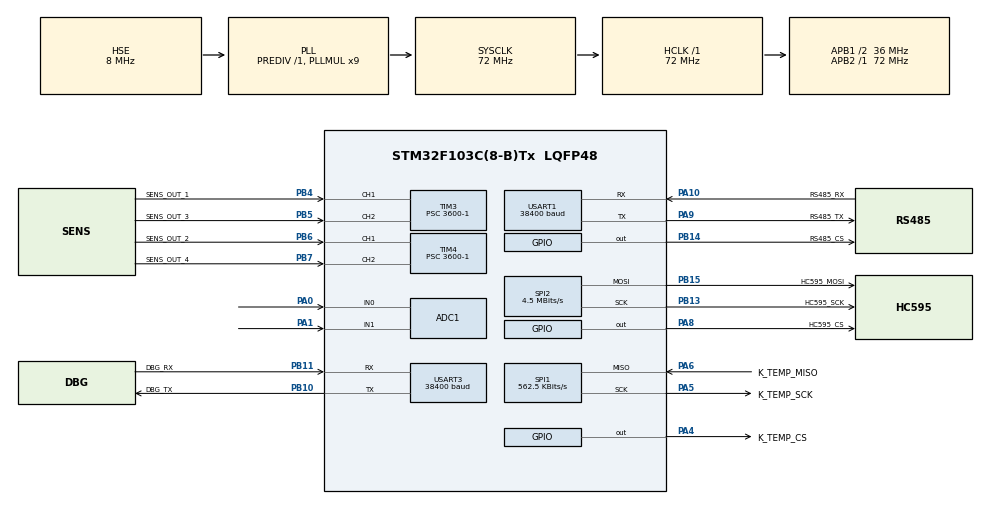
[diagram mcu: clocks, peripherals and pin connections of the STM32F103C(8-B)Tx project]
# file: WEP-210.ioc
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ADC1.Channel-0\#ChannelRegularConversion=ADC_CHANNEL_0
ADC1.Channel-1\#ChannelRegularConversion=ADC_CHANNEL_1
ADC1.ContinuousConvMode=DISABLE
ADC1.NbrOfConversion=2
ADC1.NbrOfConversionFlag=1
ADC1.Rank-0\#ChannelRegularConversion=1
ADC1.Rank-1\#ChannelRegularConversion=2
ADC1.SamplingTime-0\#ChannelRegularConversion=ADC_SAMPLETIME_1CYCLE_5
ADC1.SamplingTime-1\#ChannelRegularConversion=ADC_SAMPLETIME_1CYCLE_5
ADC1.master=1
Dma.ADC1.0.Direction=DMA_PERIPH_TO_MEMORY
Dma.ADC1.0.Instance=DMA1_Channel1
Dma.ADC1.0.MemDataAlignment=DMA_MDATAALIGN_WORD
Dma.ADC1.0.MemInc=DMA_MINC_ENABLE
Dma.ADC1.0.Mode=DMA_CIRCULAR
Dma.ADC1.0.PeriphDataAlignment=DMA_PDATAALIGN_WORD
Dma.ADC1.0.PeriphInc=DMA_PINC_DISABLE
Dma.ADC1.0.Priority=DMA_PRIORITY_LOW
Dma.Request0=ADC1
FREERTOS.Events01=systemInitEvent,Dynamic,NULL
FREERTOS.Queues01=ioInputStateQueue,10,uint32_t,0,Dynamic,NULL,NULL
FREERTOS.Tasks01=mainTask,24,128,startMainTask,Default,NULL,Dynamic,NULL,NULL;eMBTask,25,128,starteMBTask,Default,NULL,Dynamic,NULL,NULL;ioManagerTask,24,128,startIoManagerTask,Default,NULL,Dynamic,NULL,NULL;sensorTask,24,128,startSensorTask,Default,NULL,Dynamic,NULL,NULL;ioExtIrqCbkTask,31,128,startIoExtIrqCbkTask,Default,NULL,Dynamic,NULL,NULL;adcConvCbkTask,31,128,startAdcConvCbkTask,Default,NULL,Dynamic,NULL,NULL
FREERTOS.Timers01=mainFunctionTimer,mainFunctionTimerHandler,osTimerPeriodic,Default,NULL,Dynamic,NULL
FREERTOS.configTOTAL_HEAP_SIZE=8192
Mcu.Family=STM32F1
Mcu.Name=STM32F103C(8-B)Tx
Mcu.Package=LQFP48
NVIC.DMA1_Channel1_IRQn=true\:5\:0\:false\:false\:true\:true\:false\:true\:true
NVIC.PriorityGroup=NVIC_PRIORITYGROUP_4
NVIC.TIM1_UP_IRQn=true\:15\:0\:false\:false\:true\:false\:false\:true\:true
NVIC.TIM2_IRQn=true\:5\:0\:false\:false\:true\:true\:true\:true\:true
NVIC.TIM3_IRQn=true\:5\:0\:false\:false\:true\:true\:true\:true\:true
NVIC.TIM4_IRQn=true\:5\:0\:false\:false\:true\:true\:true\:true\:true
NVIC.TimeBase=TIM1_UP_IRQn
NVIC.TimeBaseIP=TIM1
NVIC.USART1_IRQn=true\:5\:0\:false\:false\:true\:true\:true\:true\:true
NVIC.USART3_IRQn=true\:5\:0\:false\:false\:true\:true\:true\:true\:true
PA0-WKUP.Signal=ADCx_IN0
PA1.Signal=ADCx_IN1
PA10.GPIO_Label=RS485_RX
PA10.Mode=Asynchronous
PA10.Signal=USART1_RX
PA13.Mode=Serial_Wire
PA13.Signal=SYS_JTMS-SWDIO
PA14.Mode=Serial_Wire
PA14.Signal=SYS_JTCK-SWCLK
PA4.GPIO_Label=K_TEMP_CS
PA4.GPIO_Speed=GPIO_SPEED_FREQ_HIGH
PA4.PinState=GPIO_PIN_SET
PA4.Signal=GPIO_Output
PA5.GPIO_Label=K_TEMP_SCK
PA5.Mode=RX_Only_Simplex_Unidirect_Master
PA5.Signal=SPI1_SCK
PA6.GPIO_Label=K_TEMP_MISO
PA6.Mode=RX_Only_Simplex_Unidirect_Master
PA6.Signal=SPI1_MISO
PA8.GPIO_Label=HC595_CS
PA8.GPIO_Speed=GPIO_SPEED_FREQ_HIGH
PA8.PinState=GPIO_PIN_SET
PA8.Signal=GPIO_Output
PA9.GPIO_Label=RS485_TX
PA9.Mode=Asynchronous
PA9.Signal=USART1_TX
PB10.GPIO_Label=DBG_TX
PB10.Mode=Asynchronous
PB10.Signal=USART3_TX
PB11.GPIO_Label=DBG_RX
PB11.Mode=Asynchronous
PB11.Signal=USART3_RX
PB13.GPIO_Label=HC595_SCK
PB13.Mode=TX_Only_Simplex_Unidirect_Master
PB13.Signal=SPI2_SCK
PB14.GPIO_Label=RS485_CS
PB14.GPIO_Speed=GPIO_SPEED_FREQ_HIGH
PB14.PinState=GPIO_PIN_RESET
PB14.Signal=GPIO_Output
PB15.GPIO_Label=HC595_MOSI
PB15.Mode=TX_Only_Simplex_Unidirect_Master
PB15.Signal=SPI2_MOSI
PB4.GPIO_Label=SENS_OUT_1
PB4.Signal=S_TIM3_CH1
PB5.GPIO_Label=SENS_OUT_3
PB5.Signal=S_TIM3_CH2
PB6.GPIO_Label=SENS_OUT_2
PB6.Signal=S_TIM4_CH1
PB7.GPIO_Label=SENS_OUT_4
PB7.Signal=S_TIM4_CH2
PD0-OSC_IN.Mode=HSE-External-Oscillator
PD0-OSC_IN.Signal=RCC_OSC_IN
PD1-OSC_OUT.Mode=HSE-External-Oscillator
PD1-OSC_OUT.Signal=RCC_OSC_OUT
ProjectManager.HeapSize=0x100
ProjectManager.StackSize=0x100
ProjectManager.TargetToolchain=MDK-ARM V5.32
RCC.ADCPresc=RCC_ADCPCLK2_DIV6
RCC.AHBFreq_Value=72000000
RCC.APB1CLKDivider=RCC_HCLK_DIV2
RCC.APB1Freq_Value=36000000
RCC.APB1TimFreq_Value=72000000
RCC.APB2Freq_Value=72000000
RCC.APB2TimFreq_Value=72000000
RCC.HCLKFreq_Value=72000000
RCC.PLLMUL=RCC_PLL_MUL9
RCC.PLLSourceVirtual=RCC_PLLSOURCE_HSE
RCC.SYSCLKFreq_VALUE=72000000
RCC.SYSCLKSource=RCC_SYSCLKSOURCE_PLLCLK
RCC.USBFreq_Value=72000000
SH.ADCx_IN0.0=ADC1_IN0,IN0
SH.ADCx_IN1.0=ADC1_IN1,IN1
SH.S_TIM3_CH1.0=TIM3_CH1,Input_Capture1_from_TI1
SH.S_TIM3_CH2.0=TIM3_CH2,Input_Capture2_from_TI2
SH.S_TIM4_CH1.0=TIM4_CH1,Input_Capture1_from_TI1
SH.S_TIM4_CH2.0=TIM4_CH2,Input_Capture2_from_TI2
SPI1.BaudRatePrescaler=SPI_BAUDRATEPRESCALER_128
SPI1.CalculateBaudRate=562.5 KBits/s
SPI1.Direction=SPI_DIRECTION_2LINES_RXONLY
SPI1.Mode=SPI_MODE_MASTER
SPI1.VirtualType=VM_MASTER
SPI2.BaudRatePrescaler=SPI_BAUDRATEPRESCALER_8
SPI2.CalculateBaudRate=4.5 MBits/s
SPI2.DataSize=SPI_DATASIZE_8BIT
SPI2.Direction=SPI_DIRECTION_2LINES
SPI2.Mode=SPI_MODE_MASTER
SPI2.VirtualType=VM_MASTER
TIM2.Period=10-1
TIM2.Prescaler=3600-1
TIM3.Channel-Input_Capture1_from_TI1=TIM_CHANNEL_1
TIM3.Channel-Input_Capture2_from_TI2=TIM_CHANNEL_2
TIM3.Channel-Output\ Compare3\ No\ Output=TIM_CHANNEL_3
TIM3.Channel-Output\ Compare4\ No\ Output=TIM_CHANNEL_4
TIM3.ICFilter_CH1=5
TIM3.ICFilter_CH2=5
TIM3.ICPolarity_CH1=TIM_INPUTCHANNELPOLARITY_FALLING
TIM3.ICPolarity_CH2=TIM_INPUTCHANNELPOLARITY_FALLING
TIM3.Period=10000-1
TIM3.Prescaler=3600-1
TIM4.Channel-Input_Capture1_from_TI1=TIM_CHANNEL_1
TIM4.Channel-Input_Capture2_from_TI2=TIM_CHANNEL_2
TIM4.Channel-Output\ Compare3\ No\ Output=TIM_CHANNEL_3
TIM4.Channel-Output\ Compare4\ No\ Output=TIM_CHANNEL_4
TIM4.ICFilter_CH1=5
TIM4.ICFilter_CH2=5
TIM4.ICPolarity_CH1=TIM_INPUTCHANNELPOLARITY_FALLING
TIM4.ICPolarity_CH2=TIM_INPUTCHANNELPOLARITY_FALLING
TIM4.Period=10000-1
TIM4.Prescaler=3600-1
USART1.BaudRate=38400
USART1.VirtualMode=VM_ASYNC
USART3.BaudRate=38400
USART3.VirtualMode=VM_ASYNC
VP_CRC_VS_CRC.Mode=CRC_Activate
VP_FREERTOS_VS_CMSIS_V2.Mode=CMSIS_V2
VP_SYS_VS_tim1.Mode=TIM1
VP_TIM2_VS_ClockSourceINT.Mode=Internal
VP_TIM3_VS_ClockSourceINT.Mode=Internal
VP_TIM3_VS_no_output3.Mode=Output Compare3 No Output
VP_TIM3_VS_no_output4.Mode=Output Compare4 No Output
VP_TIM4_VS_ClockSourceINT.Mode=Internal
VP_TIM4_VS_no_output3.Mode=Output Compare3 No Output
VP_TIM4_VS_no_output4.Mode=Output Compare4 No Output
board=custom

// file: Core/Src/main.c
/* USER CODE BEGIN Header */
/**
  ******************************************************************************
  * @file           : main.c
  * @brief          : Main program body
  ******************************************************************************
  * @attention
  *
  * Copyright (c) 2022 STMicroelectronics.
  * All rights reserved.
  *
  * This software is licensed under terms that can be found in the LICENSE file
  * in the root directory of this software component.
  * If no LICENSE file comes with this software, it is provided AS-IS.
  *
  ******************************************************************************
  */
/* USER CODE END Header */
#include "main.h"
#include "cmsis_os.h"
#include "adc.h"
#include "crc.h"
#include "dma.h"
#include "spi.h"
#include "tim.h"
#include "usart.h"
#include "gpio.h"

/* USER CODE BEGIN Includes */
#include "hc595.h"
#include "max6675.h"
/* USER CODE END Includes */

void SystemClock_Config(void);
void MX_FREERTOS_Init(void);

int main(void)
{

  /* MCU Configuration--------------------------------------------------------*/

  /* Reset of all peripherals, Initializes the Flash interface and the Systick. */
  HAL_Init();

  /* Configure the system clock */
  SystemClock_Config();

  /* Initialize all configured peripherals */
  MX_GPIO_Init();
  MX_DMA_Init();
  MX_CRC_Init();
  MX_SPI1_Init();
  MX_SPI2_Init();
  MX_USART1_UART_Init();
  MX_USART3_UART_Init();
  MX_TIM3_Init();
  MX_ADC1_Init();
  MX_TIM4_Init();
  MX_TIM2_Init();
  /* USER CODE BEGIN 2 */
  HC595_Init();
  MAX6675_Init();
  /* USER CODE END 2 */

  /* Init scheduler */
  osKernelInitialize();  /* Call init function for freertos objects (in freertos.c) */
  MX_FREERTOS_Init();

  /* Start scheduler */
  osKernelStart();

  /* We should never get here as control is now taken by the scheduler */
  /* Infinite loop */
  while (1)
  {

  }
}

void SystemClock_Config(void)
{
  RCC_OscInitTypeDef RCC_OscInitStruct = {0};
  RCC_ClkInitTypeDef RCC_ClkInitStruct = {0};
  RCC_PeriphCLKInitTypeDef PeriphClkInit = {0};

  /** Initializes the RCC Oscillators according to the specified parameters
  * in the RCC_OscInitTypeDef structure.
  */
  RCC_OscInitStruct.OscillatorType = RCC_OSCILLATORTYPE_HSE;
  RCC_OscInitStruct.HSEState = RCC_HSE_ON;
  RCC_OscInitStruct.HSEPredivValue = RCC_HSE_PREDIV_DIV1;
  RCC_OscInitStruct.HSIState = RCC_HSI_ON;
  RCC_OscInitStruct.PLL.PLLState = RCC_PLL_ON;
  RCC_OscInitStruct.PLL.PLLSource = RCC_PLLSOURCE_HSE;
  RCC_OscInitStruct.PLL.PLLMUL = RCC_PLL_MUL9;
  if (HAL_RCC_OscConfig(&RCC_OscInitStruct) != HAL_OK)
  {
    Error_Handler();
  }

  /** Initializes the CPU, AHB and APB buses clocks
  */
  RCC_ClkInitStruct.ClockType = RCC_CLOCKTYPE_HCLK|RCC_CLOCKTYPE_SYSCLK
                              |RCC_CLOCKTYPE_PCLK1|RCC_CLOCKTYPE_PCLK2;
  RCC_ClkInitStruct.SYSCLKSource = RCC_SYSCLKSOURCE_PLLCLK;
  RCC_ClkInitStruct.AHBCLKDivider = RCC_SYSCLK_DIV1;
  RCC_ClkInitStruct.APB1CLKDivider = RCC_HCLK_DIV2;
  RCC_ClkInitStruct.APB2CLKDivider = RCC_HCLK_DIV1;

  if (HAL_RCC_ClockConfig(&RCC_ClkInitStruct, FLASH_LATENCY_2) != HAL_OK)
  {
    Error_Handler();
  }
  PeriphClkInit.PeriphClockSelection = RCC_PERIPHCLK_ADC;
  PeriphClkInit.AdcClockSelection = RCC_ADCPCLK2_DIV6;
  if (HAL_RCCEx_PeriphCLKConfig(&PeriphClkInit) != HAL_OK)
  {
    Error_Handler();
  }
}

void HAL_TIM_PeriodElapsedCallback(TIM_HandleTypeDef *htim)
{
  if (htim->Instance == TIM1) {
    HAL_IncTick();
  }
}

void Error_Handler(void)
{
  __disable_irq();
  while (1)
  {
  }
}

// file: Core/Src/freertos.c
/* USER CODE BEGIN Header */
/**
  ******************************************************************************
  * File Name          : freertos.c
  * Description        : Code for freertos applications
  ******************************************************************************
  * @attention
  *
  * Copyright (c) 2022 STMicroelectronics.
  * All rights reserved.
  *
  * This software is licensed under terms that can be found in the LICENSE file
  * in the root directory of this software component.
  * If no LICENSE file comes with this software, it is provided AS-IS.
  *
  ******************************************************************************
  */
/* USER CODE END Header */

#include "FreeRTOS.h"
#include "task.h"
#include "main.h"
#include "cmsis_os.h"

/* USER CODE BEGIN Includes */
#include <stdio.h>
#include "usart.h"

#include "ioManager.h"
#include "sensorManager.h"
#include "mb.h"

#include "max6675.h"
#include "hc595.h"
/* USER CODE END Includes */

/* USER CODE BEGIN PD */
/* Event flag for systemInitEvent */
#define SYSTEM_INIT_EVENT_MB_READY                (uint32_t)(0x0001)
#define SYSTEM_INIT_EVENT_IO_READY                (uint32_t)(0x0002)
#define SYSTEM_INIT_EVENT_SENS_READY              (uint32_t)(0x0004)
/* USER CODE END PD */

/* USER CODE BEGIN Variables */
/* Serial Tx task */
osThreadId_t eMB_PortSerialTxTaskHandle;

const osThreadAttr_t eMB_PortSerialTxTask_attributes = {
  .name = "eMBTxTask",
  .stack_size = 128 * 4,
  .priority = (osPriority_t) osPriorityNormal7,
};

osEventFlagsId_t eMB_PortSerialTxEvent;
/* USER CODE END Variables */
/* Definitions for mainTask */
osThreadId_t mainTaskHandle;
const osThreadAttr_t mainTask_attributes = {
  .name = "mainTask",
  .stack_size = 128 * 4,
  .priority = (osPriority_t) osPriorityNormal,
};
/* Definitions for eMBTask */
osThreadId_t eMBTaskHandle;
const osThreadAttr_t eMBTask_attributes = {
  .name = "eMBTask",
  .stack_size = 128 * 4,
  .priority = (osPriority_t) osPriorityNormal1,
};
/* Definitions for ioManagerTask */
osThreadId_t ioManagerTaskHandle;
const osThreadAttr_t ioManagerTask_attributes = {
  .name = "ioManagerTask",
  .stack_size = 128 * 4,
  .priority = (osPriority_t) osPriorityNormal,
};
/* Definitions for sensorTask */
osThreadId_t sensorTaskHandle;
const osThreadAttr_t sensorTask_attributes = {
  .name = "sensorTask",
  .stack_size = 128 * 4,
  .priority = (osPriority_t) osPriorityNormal,
};
/* Definitions for ioExtIrqCbkTask */
osThreadId_t ioExtIrqCbkTaskHandle;
const osThreadAttr_t ioExtIrqCbkTask_attributes = {
  .name = "ioExtIrqCbkTask",
  .stack_size = 128 * 4,
  .priority = (osPriority_t) osPriorityNormal7,
};
/* Definitions for adcConvCbkTask */
osThreadId_t adcConvCbkTaskHandle;
const osThreadAttr_t adcConvCbkTask_attributes = {
  .name = "adcConvCbkTask",
  .stack_size = 128 * 4,
  .priority = (osPriority_t) osPriorityNormal7,
};
/* Definitions for ioInputStateQueue */
osMessageQueueId_t ioInputStateQueueHandle;
const osMessageQueueAttr_t ioInputStateQueue_attributes = {
  .name = "ioInputStateQueue"
};
/* Definitions for mainFunctionTimer */
osTimerId_t mainFunctionTimerHandle;
const osTimerAttr_t mainFunctionTimer_attributes = {
  .name = "mainFunctionTimer"
};
/* Definitions for systemInitEvent */
osEventFlagsId_t systemInitEventHandle;
const osEventFlagsAttr_t systemInitEvent_attributes = {
  .name = "systemInitEvent"
};

/* USER CODE BEGIN FunctionPrototypes */
#ifdef __GNUC__
#define PUTCHAR_PROTOTYPE int __io_putchar(int ch)
#else
#define PUTCHAR_PROTOTYPE int fputc(int ch, FILE *f)
#endif /* __GNUC__ */

/**
  * @brief  Retargets the C library printf function to the USART.
  * @param  None
  * @retval None
  */
PUTCHAR_PROTOTYPE
{
  HAL_UART_Transmit(&huart3, (uint8_t *)&ch, 1, HAL_MAX_DELAY);
  return ch;
}
/* USER CODE END FunctionPrototypes */

void startMainTask(void *argument);
void starteMBTask(void *argument);
void startIoManagerTask(void *argument);
void startSensorTask(void *argument);
void startIoExtIrqCbkTask(void *argument);
void startAdcConvCbkTask(void *argument);
void mainFunctionTimerHandler(void *argument);

void MX_FREERTOS_Init(void); /* (MISRA C 2004 rule 8.1) */

void MX_FREERTOS_Init(void) {

  /* Create the timer(s) */
  /* creation of mainFunctionTimer */
  mainFunctionTimerHandle = osTimerNew(mainFunctionTimerHandler, osTimerPeriodic, NULL, &mainFunctionTimer_attributes);

  /* Create the queue(s) */
  /* creation of ioInputStateQueue */
  ioInputStateQueueHandle = osMessageQueueNew (10, sizeof(uint32_t), &ioInputStateQueue_attributes);

  /* Create the thread(s) */
  /* creation of mainTask */
  mainTaskHandle = osThreadNew(startMainTask, NULL, &mainTask_attributes);

  /* creation of eMBTask */
  eMBTaskHandle = osThreadNew(starteMBTask, NULL, &eMBTask_attributes);

  /* creation of ioManagerTask */
  ioManagerTaskHandle = osThreadNew(startIoManagerTask, NULL, &ioManagerTask_attributes);

  /* creation of sensorTask */
  sensorTaskHandle = osThreadNew(startSensorTask, NULL, &sensorTask_attributes);

  /* creation of ioExtIrqCbkTask */
  ioExtIrqCbkTaskHandle = osThreadNew(startIoExtIrqCbkTask, NULL, &ioExtIrqCbkTask_attributes);

  /* creation of adcConvCbkTask */
  adcConvCbkTaskHandle = osThreadNew(startAdcConvCbkTask, NULL, &adcConvCbkTask_attributes);

  /* USER CODE BEGIN RTOS_THREADS */
  eMB_PortSerialTxTaskHandle = osThreadNew(eMB_PortSerialTxTask, NULL, &eMB_PortSerialTxTask_attributes);
  /* USER CODE END RTOS_THREADS */

  /* Create the event(s) */
  /* creation of systemInitEvent */
  systemInitEventHandle = osEventFlagsNew(&systemInitEvent_attributes);

  /* USER CODE BEGIN RTOS_EVENTS */
  eMB_PortSerialTxEvent = osEventFlagsNew(NULL);
  /* USER CODE END RTOS_EVENTS */

}

void startMainTask(void *argument)
{
  /* USER CODE BEGIN startMainTask */
  /* Wait for all initializations done */
  (void)osEventFlagsWait( systemInitEventHandle, \
                          SYSTEM_INIT_EVENT_MB_READY | SYSTEM_INIT_EVENT_IO_READY | SYSTEM_INIT_EVENT_SENS_READY, \
                          osFlagsWaitAny | osFlagsNoClear, \
                          osWaitForever);

  while (1)
  {
    osDelay(1000);
  }
  /* USER CODE END startMainTask */
}

void starteMBTask(void *argument)
{
  /* USER CODE BEGIN starteMBTask */
  eMBInit(MB_RTU, 0x01, 2, 38400, MB_PAR_NONE);
  eMBEnable();

  osEventFlagsSet(systemInitEventHandle, SYSTEM_INIT_EVENT_MB_READY);

  /* Infinite loop */
  while (1)
  {
    eMBPoll();
  }
  /* USER CODE END starteMBTask */
}

void startIoManagerTask(void *argument)
{
  /* USER CODE BEGIN startIoManagerTask */
  /* Wait for Modbus initialization done */
  (void)osEventFlagsWait( systemInitEventHandle, \
                          SYSTEM_INIT_EVENT_MB_READY, \
                          osFlagsWaitAny | osFlagsNoClear, \
                          osWaitForever);

  IoManager_Init();

  osEventFlagsSet(systemInitEventHandle, SYSTEM_INIT_EVENT_IO_READY);

  /* Infinite loop */
  while (1)
  {
    IoManager_MainFunction();
    osDelay(5);
  }
  /* USER CODE END startIoManagerTask */
}

void startSensorTask(void *argument)
{
  /* USER CODE BEGIN startSensorTask */
  /* Wait for Modbus initialization done */
  (void)osEventFlagsWait( systemInitEventHandle, \
                          SYSTEM_INIT_EVENT_MB_READY, \
                          osFlagsWaitAny | osFlagsNoClear, \
                          osWaitForever);

  SensorManager_Init();

  osEventFlagsSet(systemInitEventHandle, SYSTEM_INIT_EVENT_SENS_READY);

  /* Infinite loop */
  while (1)
  {
    SensorManager_MainFunction();
    osDelay(5);
  }
  /* USER CODE END startSensorTask */
}

void startIoExtIrqCbkTask(void *argument)
{
  /* USER CODE BEGIN startIoExtIrqCbkTask */
  /* Wait for I/O initialization done */
  (void)osEventFlagsWait( systemInitEventHandle, \
                          SYSTEM_INIT_EVENT_IO_READY, \
                          osFlagsWaitAny | osFlagsNoClear, \
                          osWaitForever);

  /* Infinite loop */
  while (1)
  {
    IoManager_ExtIrptMainFunction();
  }
  /* USER CODE END startIoExtIrqCbkTask */
}

void startAdcConvCbkTask(void *argument)
{
  /* USER CODE BEGIN startAdcConvCbkTask */
  /* Wait for sensor initialization done */
  (void)osEventFlagsWait( systemInitEventHandle, \
                          SYSTEM_INIT_EVENT_SENS_READY, \
                          osFlagsWaitAny | osFlagsNoClear, \
                          osWaitForever);

  /* Infinite loop */
  while (1)
  {
    SensorManager_AdcConvMainFunction();
  }
  /* USER CODE END startAdcConvCbkTask */
}

/* mainFunctionTimerHandler function */
void mainFunctionTimerHandler(void *argument)
{
}
